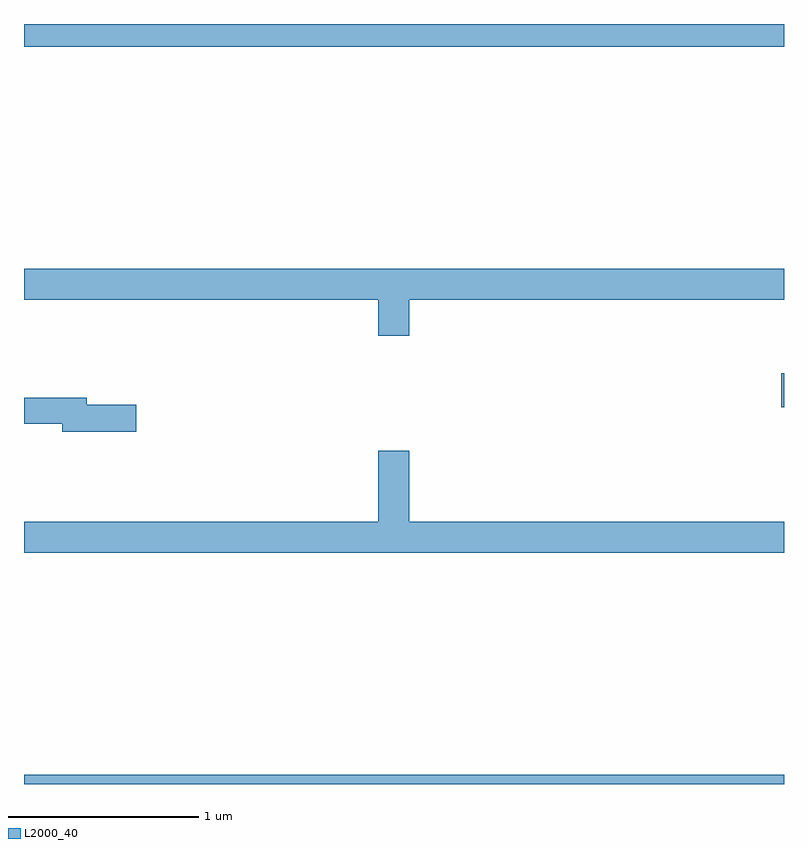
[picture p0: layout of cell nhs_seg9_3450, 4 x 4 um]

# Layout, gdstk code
import gdstk
lib = gdstk.Library(unit=1e-6, precision=1e-09)
def R(c, l, rs):  # rectangles x0, y0, x1, y1
    for r in rs: c.add(gdstk.rectangle(r[:2], r[2:], *l))
def P(c, l, *ps):  # polygons
    for p in ps: c.add(gdstk.Polygon(p, *l))
L2000_40 = (2000, 40)

nhs_seg9_3450 = lib.new_cell('nhs_seg9_3450')
R(nhs_seg9_3450, L2000_40, [(307,1232.5,311,1232.548), (310.986,1234.484,311,1234.662), (307,1236.38,311,1236.5)])
P(nhs_seg9_3450, L2000_40, [(309.028,1235.048),(311,1235.048),(311,1235.212),(307,1235.212),(307,1235.048),(308.864,1235.048),(308.864,1234.86),(309.028,1234.86)],
  [(307.591,1234.496),(307.33,1234.496),(307.33,1234.532),(307,1234.532),(307,1234.396),(307.202,1234.396),(307.202,1234.354),(307.591,1234.354)],
  [(311,1233.88),(309.028,1233.88),(309.028,1234.255),(308.864,1234.255),(308.864,1233.88),(307,1233.88),(307,1233.716),(311,1233.716)])

lib.write_gds('nhs_seg9_3450.gds')
